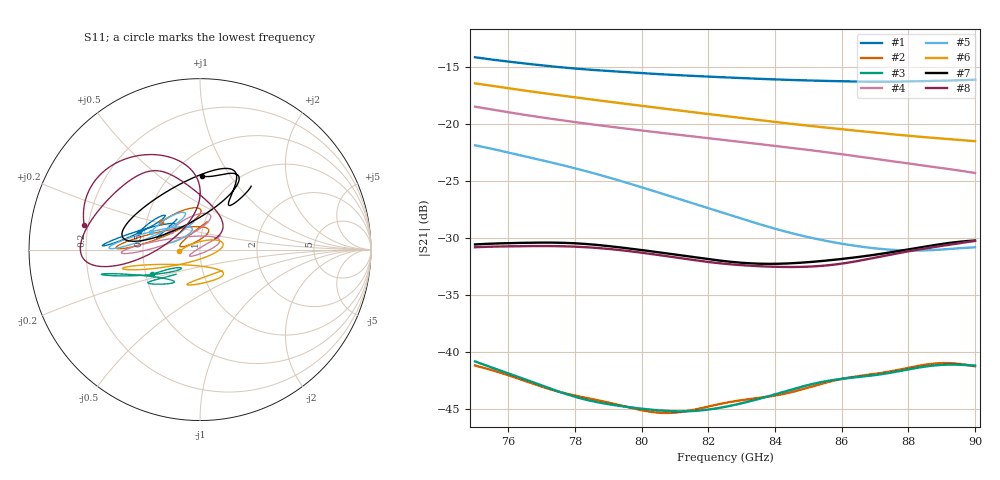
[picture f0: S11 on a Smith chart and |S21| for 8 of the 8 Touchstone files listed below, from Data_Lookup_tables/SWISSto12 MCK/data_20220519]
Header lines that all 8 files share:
!SWISSto12 MCK measurement data
# GHz S RI R 50.0
!freq ReS11 ImS11 ReS21 ImS21 ReS12 ImS12 ReS22 ImS22
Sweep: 75 GHz to 90 GHz
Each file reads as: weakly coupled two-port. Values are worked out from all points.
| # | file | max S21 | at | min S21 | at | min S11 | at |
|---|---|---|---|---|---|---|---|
| 1 | Sample_Asphalt_58421AC8DS_19052022_1.s2p | -14.14 dB | 75 GHz | -16.3 dB | 87.11 GHz | -14.1 dB | 85.58 GHz |
| 2 | Sample_Asphalt_LPD1421LV_19052022_1.s2p | -40.98 dB | 89.11 GHz | -45.4 dB | 80.73 GHz | -25.8 dB | 86.31 GHz |
| 3 | Sample_Asphalt_LPD1421LV_19052022_2.s2p | -40.84 dB | 75 GHz | -45.2 dB | 81.17 GHz | -16.3 dB | 77.95 GHz |
| 4 | Sample_Concrete_19052022_1.s2p | -18.48 dB | 75 GHz | -24.3 dB | 90 GHz | -41.2 dB | 88.66 GHz |
| 5 | Sample_Concrete_19052022_2.s2p | -21.86 dB | 75 GHz | -31.1 dB | 88.17 GHz | -19.0 dB | 85.83 GHz |
| 6 | Sample_Concrete_19052022_2_2.s2p | -16.43 dB | 75 GHz | -21.5 dB | 90 GHz | -26.9 dB | 76.36 GHz |
| 7 | Sample_wheel_rubber.s2p | -30.23 dB | 90 GHz | -32.3 dB | 83.84 GHz | -15.6 dB | 79.8 GHz |
| 8 | Sample_wheel_rubber_2.s2p | -30.26 dB | 90 GHz | -32.5 dB | 84.48 GHz | -19.3 dB | 90 GHz |
